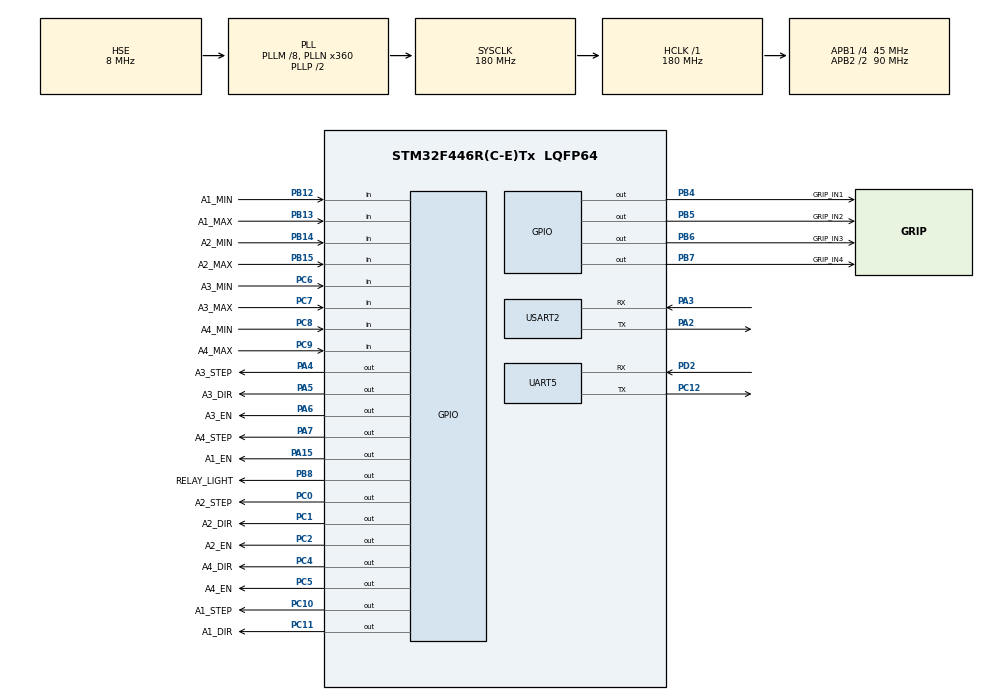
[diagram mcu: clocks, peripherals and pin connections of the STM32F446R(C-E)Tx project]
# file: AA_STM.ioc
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IWDG.Prescaler=IWDG_PRESCALER_64
IWDG.Reload=999
Mcu.Family=STM32F4
Mcu.Name=STM32F446R(C-E)Tx
Mcu.Package=LQFP64
NVIC.PriorityGroup=NVIC_PRIORITYGROUP_4
NVIC.TIM3_IRQn=true\:0\:0\:false\:false\:true\:true\:true\:true
NVIC.UART5_IRQn=true\:0\:0\:false\:false\:true\:true\:true\:true
NVIC.USART2_IRQn=true\:0\:0\:false\:false\:true\:true\:true\:true
PA13.Mode=Serial_Wire
PA13.Signal=SYS_JTMS-SWDIO
PA14.Mode=Serial_Wire
PA14.Signal=SYS_JTCK-SWCLK
PA15.GPIO_Label=A1_EN
PA15.PinState=GPIO_PIN_SET
PA15.Signal=GPIO_Output
PA2.Mode=Asynchronous
PA2.Signal=USART2_TX
PA3.Mode=Asynchronous
PA3.Signal=USART2_RX
PA4.GPIO_Label=A3_STEP
PA4.Signal=GPIO_Output
PA5.GPIO_Label=A3_DIR
PA5.Signal=GPIO_Output
PA6.GPIO_Label=A3_EN
PA6.PinState=GPIO_PIN_SET
PA6.Signal=GPIO_Output
PA7.GPIO_Label=A4_STEP
PA7.Signal=GPIO_Output
PB12.GPIO_Label=A1_MIN
PB12.GPIO_PuPd=GPIO_PULLUP
PB12.Signal=GPIO_Input
PB13.GPIO_Label=A1_MAX
PB13.GPIO_PuPd=GPIO_PULLUP
PB13.Signal=GPIO_Input
PB14.GPIO_Label=A2_MIN
PB14.GPIO_PuPd=GPIO_PULLUP
PB14.Signal=GPIO_Input
PB15.GPIO_Label=A2_MAX
PB15.GPIO_PuPd=GPIO_PULLUP
PB15.Signal=GPIO_Input
PB4.GPIO_Label=GRIP_IN1
PB4.Signal=GPIO_Output
PB5.GPIO_Label=GRIP_IN2
PB5.Signal=GPIO_Output
PB6.GPIO_Label=GRIP_IN3
PB6.Signal=GPIO_Output
PB7.GPIO_Label=GRIP_IN4
PB7.Signal=GPIO_Output
PB8.GPIO_Label=RELAY_LIGHT
PB8.PinState=GPIO_PIN_SET
PB8.Signal=GPIO_Output
PC0.GPIO_Label=A2_STEP
PC0.Signal=GPIO_Output
PC1.GPIO_Label=A2_DIR
PC1.Signal=GPIO_Output
PC10.GPIO_Label=A1_STEP
PC10.Signal=GPIO_Output
PC11.GPIO_Label=A1_DIR
PC11.Signal=GPIO_Output
PC12.Mode=Asynchronous
PC12.Signal=UART5_TX
PD2.Mode=Asynchronous
PD2.Signal=UART5_RX
PC2.GPIO_Label=A2_EN
PC2.PinState=GPIO_PIN_SET
PC2.Signal=GPIO_Output
PC4.GPIO_Label=A4_DIR
PC4.Signal=GPIO_Output
PC5.GPIO_Label=A4_EN
PC5.PinState=GPIO_PIN_SET
PC5.Signal=GPIO_Output
PC6.GPIO_Label=A3_MIN
PC6.GPIO_PuPd=GPIO_PULLUP
PC6.Signal=GPIO_Input
PC7.GPIO_Label=A3_MAX
PC7.GPIO_PuPd=GPIO_PULLUP
PC7.Signal=GPIO_Input
PC8.GPIO_Label=A4_MIN
PC8.GPIO_PuPd=GPIO_PULLUP
PC8.Signal=GPIO_Input
PC9.GPIO_Label=A4_MAX
PC9.GPIO_PuPd=GPIO_PULLUP
PC9.Signal=GPIO_Input
PH0-OSC_IN.Mode=HSE-External-Oscillator
PH0-OSC_IN.Signal=RCC_OSC_IN
PH1-OSC_OUT.Mode=HSE-External-Oscillator
PH1-OSC_OUT.Signal=RCC_OSC_OUT
ProjectManager.HeapSize=0x200
ProjectManager.StackSize=0x400
ProjectManager.TargetToolchain=CMake
RCC.AHBFreq_Value=180000000
RCC.APB1CLKDivider=RCC_HCLK_DIV4
RCC.APB1Freq_Value=45000000
RCC.APB1TimFreq_Value=90000000
RCC.APB2CLKDivider=RCC_HCLK_DIV2
RCC.APB2Freq_Value=90000000
RCC.APB2TimFreq_Value=180000000
RCC.CortexFreq_Value=180000000
RCC.HCLKFreq_Value=180000000
RCC.HSE_VALUE=8000000
RCC.PLLM=8
RCC.PLLN=360
RCC.PLLSourceVirtual=RCC_PLLSOURCE_HSE
RCC.SYSCLKFreq_VALUE=180000000
RCC.SYSCLKSource=RCC_SYSCLKSOURCE_PLLCLK
RCC.USBFreq_Value=180000000
RCC.VCOOutputFreq_Value=360000000
TIM3.Period=99
TIM3.Prescaler=89
UART5.VirtualMode=Asynchronous
USART2.VirtualMode=VM_ASYNC
VP_IWDG_VS_IWDG.Mode=IWDG_Activate
VP_TIM3_VS_ClockSourceINT.Mode=Internal
board=custom

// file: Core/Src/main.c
/* USER CODE BEGIN Header */
/**
  ******************************************************************************
  * @file           : main.c
  * @brief          : Main program body
  ******************************************************************************
  * @attention
  *
  * Copyright (c) 2026 STMicroelectronics.
  * All rights reserved.
  *
  * This software is licensed under terms that can be found in the LICENSE file
  * in the root directory of this software component.
  * If no LICENSE file comes with this software, it is provided AS-IS.
  *
  ******************************************************************************
  */
/* USER CODE END Header */
#include "main.h"

/* USER CODE BEGIN Includes */
#include <stdio.h>
#include "relay.h"
#include "hatch.h"
#include "alignment.h"
#include "system.h"
#include "commands.h"
#include "aa_build_info.h"
/* USER CODE END Includes */

IWDG_HandleTypeDef hiwdg;

TIM_HandleTypeDef htim3;

UART_HandleTypeDef huart5;
UART_HandleTypeDef huart2;

/* USER CODE BEGIN PV */
/* All state (steppers, hatch, relays, UART command buffer) now lives
 * inside its own module - see relay.c, hatch.c, alignment.c, commands.c.
 * main.c no longer holds any of the system's runtime state itself. */
/* USER CODE END PV */

void SystemClock_Config(void);
static void MX_GPIO_Init(void);
static void MX_TIM3_Init(void);
static void MX_USART2_UART_Init(void);
static void MX_IWDG_Init(void);
static void MX_UART5_Init(void);
/* USER CODE BEGIN PFP */
/* (nothing needed here - relay.h/hatch.h/alignment.h/commands.h already
 * declare everything main.c calls) */
/* USER CODE END PFP */

/* USER CODE BEGIN 0 */
/* Everything that used to live here (stepper helpers, hatch GPIO,
 * relay GPIO, fault(), the TIM3 ISR, the UART RX callback) now lives in
 * its owning module. This file keeps only the printf-to-UART retarget,
 * since that's generic C-runtime glue, not domain logic. */
int _write(int file, char *ptr, int len) {
    (void)file;
    if (huart2.Instance != NULL) {
        HAL_UART_Transmit(&huart2, (uint8_t*)ptr, len, 100);
    }
    if (huart5.Instance != NULL) {
        HAL_UART_Transmit(&huart5, (uint8_t*)ptr, len, 100);
    }
    return len;
}
/* USER CODE END 0 */

int main(void)
{

  /* MCU Configuration--------------------------------------------------------*/

  /* Reset of all peripherals, Initializes the Flash interface and the Systick. */
  HAL_Init();

  /* Configure the system clock */
  SystemClock_Config();

  /* Initialize all configured peripherals */
  MX_GPIO_Init();
  MX_TIM3_Init();
  MX_USART2_UART_Init();
  MX_UART5_Init();
  /* USER CODE BEGIN 2 */
#ifndef RENODE_BUILD
  /* Independent watchdog: a separate internal timer that resets the
   * whole chip if the main loop ever stops refreshing it (a hang,
   * corrupted state, anything unanticipated) - a safety net of last
   * resort for a board that drives real motors and an actuator.
   * ~2s timeout (32kHz LSI / 64 prescaler, reload 999) - comfortably
   * longer than one loop iteration even with a blocking printf(), short
   * enough to recover quickly from a genuine hang. Once started this
   * cannot be stopped in software until the next full reset - that's a
   * hardware property of IWDG, not a bug.
   * Skipped entirely under RENODE_BUILD: Renode's IWDG timing runs
   * closer to host wall-clock than simulated LSI, and can trip this
   * spuriously when the sim is running slower than real-time - never
   * define RENODE_BUILD for a binary you intend to flash. */
  MX_IWDG_Init();   /* CubeMX-generated: prescaler 64, reload 999 (~2 s) */
#else
  (void)MX_IWDG_Init;   /* sim build never starts the watchdog; this keeps the
                         * generated function from tripping -Wunused-function */
#endif

  relay_init();      /* force light off - don't trust CubeMX's GPIO init level */
  alignment_init(&htim3); /* also configures the axis GPIO - see axis.c pin table */
  commands_init(&huart2);
  commands_init_secondary(&huart5);
  HAL_TIM_Base_Start_IT(&htim3);

  printf("READY\r\nHOME REQUIRED\r\n");
  printf("AA_BUILD: %s\r\n", AA_BUILD_HASH);
  /* USER CODE END 2 */

  /* Infinite loop */
  while (1)
  {

    /* USER CODE BEGIN 3 */
    uint32_t now = HAL_GetTick();

    hatch_update(now);
    alignment_update(now);
    commands_update(now);

    /* Pet the watchdog - must happen every iteration, and last, so a
     * hang anywhere above (not just a literal infinite loop, but any
     * module silently taking too long) is what trips the reset, not
     * something after it. Guarded the same as the init above - Renode's
     * IWDG timing can trip this spuriously; never define RENODE_BUILD
     * for a binary you intend to flash. */
#ifndef RENODE_BUILD
    HAL_IWDG_Refresh(&hiwdg);
#endif
  }
  /* USER CODE END 3 */
}

void SystemClock_Config(void)
{
  RCC_OscInitTypeDef RCC_OscInitStruct = {0};
  RCC_ClkInitTypeDef RCC_ClkInitStruct = {0};

  /** Configure the main internal regulator output voltage
  */
  __HAL_RCC_PWR_CLK_ENABLE();
  __HAL_PWR_VOLTAGESCALING_CONFIG(PWR_REGULATOR_VOLTAGE_SCALE1);

  /** Initializes the RCC Oscillators according to the specified parameters
  * in the RCC_OscInitTypeDef structure.
  */
  RCC_OscInitStruct.OscillatorType = RCC_OSCILLATORTYPE_LSI|RCC_OSCILLATORTYPE_HSE;
  RCC_OscInitStruct.HSEState = RCC_HSE_ON;
  RCC_OscInitStruct.LSIState = RCC_LSI_ON;
  RCC_OscInitStruct.PLL.PLLState = RCC_PLL_ON;
  RCC_OscInitStruct.PLL.PLLSource = RCC_PLLSOURCE_HSE;
  RCC_OscInitStruct.PLL.PLLM = 8;
  RCC_OscInitStruct.PLL.PLLN = 360;
  RCC_OscInitStruct.PLL.PLLP = RCC_PLLP_DIV2;
  RCC_OscInitStruct.PLL.PLLQ = 2;
  RCC_OscInitStruct.PLL.PLLR = 2;
  if (HAL_RCC_OscConfig(&RCC_OscInitStruct) != HAL_OK)
  {
    Error_Handler();
  }

  /** Activate the Over-Drive mode
  */
  if (HAL_PWREx_EnableOverDrive() != HAL_OK)
  {
    Error_Handler();
  }

  /** Initializes the CPU, AHB and APB buses clocks
  */
  RCC_ClkInitStruct.ClockType = RCC_CLOCKTYPE_HCLK|RCC_CLOCKTYPE_SYSCLK
                              |RCC_CLOCKTYPE_PCLK1|RCC_CLOCKTYPE_PCLK2;
  RCC_ClkInitStruct.SYSCLKSource = RCC_SYSCLKSOURCE_PLLCLK;
  RCC_ClkInitStruct.AHBCLKDivider = RCC_SYSCLK_DIV1;
  RCC_ClkInitStruct.APB1CLKDivider = RCC_HCLK_DIV4;
  RCC_ClkInitStruct.APB2CLKDivider = RCC_HCLK_DIV2;

  if (HAL_RCC_ClockConfig(&RCC_ClkInitStruct, FLASH_LATENCY_5) != HAL_OK)
  {
    Error_Handler();
  }
}

static void MX_IWDG_Init(void)
{

  hiwdg.Instance = IWDG;
  hiwdg.Init.Prescaler = IWDG_PRESCALER_64;
  hiwdg.Init.Reload = 999;
  if (HAL_IWDG_Init(&hiwdg) != HAL_OK)
  {
    Error_Handler();
  }

}

static void MX_TIM3_Init(void)
{

  TIM_ClockConfigTypeDef sClockSourceConfig = {0};
  TIM_MasterConfigTypeDef sMasterConfig = {0};

  htim3.Instance = TIM3;
  htim3.Init.Prescaler = 89;
  htim3.Init.CounterMode = TIM_COUNTERMODE_UP;
  htim3.Init.Period = 99;
  htim3.Init.ClockDivision = TIM_CLOCKDIVISION_DIV1;
  htim3.Init.AutoReloadPreload = TIM_AUTORELOAD_PRELOAD_DISABLE;
  if (HAL_TIM_Base_Init(&htim3) != HAL_OK)
  {
    Error_Handler();
  }
  sClockSourceConfig.ClockSource = TIM_CLOCKSOURCE_INTERNAL;
  if (HAL_TIM_ConfigClockSource(&htim3, &sClockSourceConfig) != HAL_OK)
  {
    Error_Handler();
  }
  sMasterConfig.MasterOutputTrigger = TIM_TRGO_RESET;
  sMasterConfig.MasterSlaveMode = TIM_MASTERSLAVEMODE_DISABLE;
  if (HAL_TIMEx_MasterConfigSynchronization(&htim3, &sMasterConfig) != HAL_OK)
  {
    Error_Handler();
  }

}

static void MX_UART5_Init(void)
{

  huart5.Instance = UART5;
  huart5.Init.BaudRate = 115200;
  huart5.Init.WordLength = UART_WORDLENGTH_8B;
  huart5.Init.StopBits = UART_STOPBITS_1;
  huart5.Init.Parity = UART_PARITY_NONE;
  huart5.Init.Mode = UART_MODE_TX_RX;
  huart5.Init.HwFlowCtl = UART_HWCONTROL_NONE;
  huart5.Init.OverSampling = UART_OVERSAMPLING_16;
  if (HAL_UART_Init(&huart5) != HAL_OK)
  {
    Error_Handler();
  }

}

static void MX_USART2_UART_Init(void)
{

  huart2.Instance = USART2;
  huart2.Init.BaudRate = 115200;
  huart2.Init.WordLength = UART_WORDLENGTH_8B;
  huart2.Init.StopBits = UART_STOPBITS_1;
  huart2.Init.Parity = UART_PARITY_NONE;
  huart2.Init.Mode = UART_MODE_TX_RX;
  huart2.Init.HwFlowCtl = UART_HWCONTROL_NONE;
  huart2.Init.OverSampling = UART_OVERSAMPLING_16;
  if (HAL_UART_Init(&huart2) != HAL_OK)
  {
    Error_Handler();
  }

}

static void MX_GPIO_Init(void)
{
  GPIO_InitTypeDef GPIO_InitStruct = {0};

  /* GPIO Ports Clock Enable */
  __HAL_RCC_GPIOH_CLK_ENABLE();
  __HAL_RCC_GPIOA_CLK_ENABLE();
  __HAL_RCC_GPIOB_CLK_ENABLE();
  __HAL_RCC_GPIOC_CLK_ENABLE();
  __HAL_RCC_GPIOD_CLK_ENABLE();

  /*Configure GPIO pin Output Level : Stepper drivers initial state (STEP/DIR low, EN high = disabled) */
  HAL_GPIO_WritePin(GPIOC, A1_STEP_Pin|A1_DIR_Pin|A2_STEP_Pin|A2_DIR_Pin|A4_DIR_Pin, GPIO_PIN_RESET);
  HAL_GPIO_WritePin(GPIOC, A2_EN_Pin|A4_EN_Pin, GPIO_PIN_SET);

  HAL_GPIO_WritePin(GPIOA, A3_STEP_Pin|A3_DIR_Pin|A4_STEP_Pin, GPIO_PIN_RESET);
  HAL_GPIO_WritePin(GPIOA, A1_EN_Pin|A3_EN_Pin, GPIO_PIN_SET);

  /*Configure GPIO pin Output Level : Hatch low, Light relay high (active low = off) */
  HAL_GPIO_WritePin(GPIOB, GRIP_IN1_Pin|GRIP_IN2_Pin|GRIP_IN3_Pin|GRIP_IN4_Pin, GPIO_PIN_RESET);
  HAL_GPIO_WritePin(RELAY_LIGHT_GPIO_Port, RELAY_LIGHT_Pin, GPIO_PIN_SET);

  /*Configure GPIO pins : A1_MIN_Pin A1_MAX_Pin A2_MIN_Pin A2_MAX_Pin */
  GPIO_InitStruct.Pin = A1_MIN_Pin|A1_MAX_Pin|A2_MIN_Pin|A2_MAX_Pin;
  GPIO_InitStruct.Mode = GPIO_MODE_INPUT;
  GPIO_InitStruct.Pull = GPIO_PULLUP;
  HAL_GPIO_Init(GPIOB, &GPIO_InitStruct);

  /*Configure GPIO pins : A3_MIN_Pin A3_MAX_Pin A4_MIN_Pin A4_MAX_Pin */
  GPIO_InitStruct.Pin = A3_MIN_Pin|A3_MAX_Pin|A4_MIN_Pin|A4_MAX_Pin;
  GPIO_InitStruct.Mode = GPIO_MODE_INPUT;
  GPIO_InitStruct.Pull = GPIO_PULLUP;
  HAL_GPIO_Init(GPIOC, &GPIO_InitStruct);

  /*Configure GPIO pins : A1_STEP_Pin A1_DIR_Pin A2_STEP_Pin
                           A2_DIR_Pin A2_EN_Pin A4_DIR_Pin A4_EN_Pin */
  GPIO_InitStruct.Pin = A1_STEP_Pin|A1_DIR_Pin|A2_STEP_Pin
                          |A2_DIR_Pin|A2_EN_Pin|A4_DIR_Pin|A4_EN_Pin;
  GPIO_InitStruct.Mode = GPIO_MODE_OUTPUT_PP;
  GPIO_InitStruct.Pull = GPIO_NOPULL;
  GPIO_InitStruct.Speed = GPIO_SPEED_FREQ_LOW;
  HAL_GPIO_Init(GPIOC, &GPIO_InitStruct);

  /*Configure GPIO pins : A1_EN_Pin A3_STEP_Pin A3_DIR_Pin A3_EN_Pin A4_STEP_Pin */
  GPIO_InitStruct.Pin = A1_EN_Pin|A3_STEP_Pin|A3_DIR_Pin|A3_EN_Pin|A4_STEP_Pin;
  GPIO_InitStruct.Mode = GPIO_MODE_OUTPUT_PP;
  GPIO_InitStruct.Pull = GPIO_NOPULL;
  GPIO_InitStruct.Speed = GPIO_SPEED_FREQ_LOW;
  HAL_GPIO_Init(GPIOA, &GPIO_InitStruct);

  /*Configure GPIO pins : GRIP_IN1_Pin GRIP_IN2_Pin GRIP_IN3_Pin GRIP_IN4_Pin
                           RELAY_LIGHT_Pin */
  GPIO_InitStruct.Pin = GRIP_IN1_Pin|GRIP_IN2_Pin|GRIP_IN3_Pin|GRIP_IN4_Pin
                          |RELAY_LIGHT_Pin;
  GPIO_InitStruct.Mode = GPIO_MODE_OUTPUT_PP;
  GPIO_InitStruct.Pull = GPIO_NOPULL;
  GPIO_InitStruct.Speed = GPIO_SPEED_FREQ_LOW;
  HAL_GPIO_Init(GPIOB, &GPIO_InitStruct);

}

void Error_Handler(void)
{
  /* USER CODE BEGIN Error_Handler_Debug */
  /* User can add his own implementation to report the HAL error return state */
  /* Make outputs safe BEFORE spinning: with IRQs masked the step ISR stops,
   * but drivers/relays/H-bridge would otherwise hold their last state until
   * the watchdog resets the chip (~2s, or never if IWDG isn't started yet). */
  system_force_safe_outputs();
  __disable_irq();
  while (1)
  {
  }
  /* USER CODE END Error_Handler_Debug */
}
